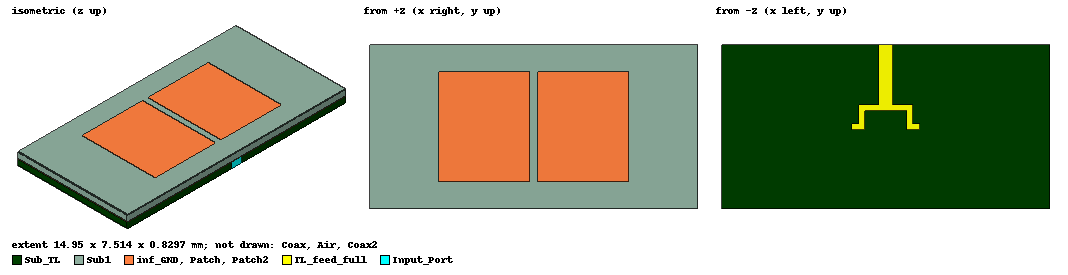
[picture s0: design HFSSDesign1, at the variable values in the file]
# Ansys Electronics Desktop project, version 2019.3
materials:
  vacuum: permittivity=1
  Rogers RT/duroid 5880 (tm): permittivity=2.2 dielectric_loss_tangent=0.0009
  pec: conductivity=1e+30
  Rogers RO4003 (tm): permittivity=3.55 dielectric_loss_tangent=0.0027

design HFSSDesign1 (HFSS, DrivenModal, model units mm)
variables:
  Lp = 4.150152938mm  # optimise 1mm..7mm
  Wp = 5.020166342mm  # optimise 1.4mm..7mm
  hs = 0.406mm  # optimise 0.05mm..2mm
  Ws = 7.513757609mm  # optimise 5mm..9mm
  Ls = 14.9466269mm  # optimise 12mm..16mm
  xsub = -Ls/2
  ysub = -Ws/2
  xfeed = 1.2mm  # optimise 0.8mm..2mm
  dp = 0.35597862mm  # optimise 0.1mm..2mm
  rcoax = 0.15786559mm  # optimise 0.08mm..0.24mm
  hcoax = 0.423655274mm  # optimise 0.1mm..2mm
  rprope = 0.07mm
  Lair = 0.01+Ls
  Wair = 0.01+Ws
  xair = Lair/2
  yair = Wair/2
  hair = 5mm
  yfeed = 0mm
  xp = dp/2
  yp = -Wp/2
  hgnd = 0.032mm  # optimise 0.016mm..0.048mm
  hsubTL = hcoax
  WTLfeed = 0.65771145mm  # optimise 0.1mm..1.5mm
  LTLfeed = 2.741436512mm  # optimise 1.5mm..3.5mm
  LTL_hoz = 2.430367425mm  # optimise 1.5mm..3.5mm
  WTL_In = 0.27356695mm  # optimise 0.1mm..1mm
  Xroax = 2
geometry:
  Sub1 [Rogers RO4003 (tm)] = box(corner=(xsub, ysub, 0mm), size=(Ls, Ws, hs))
  Patch [Rogers RT/duroid 5880 (tm)] = rectangle(corner=(xp, yp, hs), x_size=Lp, y_size=Wp)
  Coax [vacuum] = cylinder(axis=Z, base_centre=(xp+xfeed, yfeed, 0mm), radius=rcoax, height=-hcoax)
  Coax_Pin [pec] = cylinder(axis=Z, base_centre=(xp+xfeed, yfeed, 0mm), radius=rprope, height=-hcoax)
  Prope [pec] = cylinder(axis=Z, base_centre=(xp+xfeed, yfeed, 0mm), radius=rprope, height=hs)
  Air [vacuum] = box(corner=(-xair, -yair, 0), size=(Lair, Wair, hair))
  Patch2 = rectangle(corner=(xp-Lp-dp, yp, hs), x_size=Lp, y_size=Wp)
  Coax2 [vacuum] = cylinder(axis=Z, base_centre=(-(xp+xfeed), yfeed, 0mm), radius=rcoax, height=-hcoax)
  Coax_Pin2 [pec] = cylinder(axis=Z, base_centre=(-(xp+xfeed), yfeed, 0mm), radius=rprope, height=-hcoax)
  Prope2 [pec] = cylinder(axis=Z, base_centre=(-(xp+xfeed), yfeed, 0mm), radius=rprope, height=hs)
  inf_GND [pec] = box(corner=(xsub, ysub, 0mm), size=(Ls, Ws, -hgnd))
  Cylinder_cut_2 = cylinder(axis=Z, base_centre=(-(xp+xfeed), yfeed, 0), radius=rcoax, height=-hgnd)
  Cylinder_cut_1 = cylinder(axis=Z, base_centre=(xp+xfeed, yfeed, 0), radius=rcoax, height=-hgnd)
  inf_GND.subtract(Cylinder_cut_1)
  inf_GND.subtract(Cylinder_cut_2)
  Sub_TL [Rogers RO4003 (tm)] = box(corner=(xsub, ysub, 0mm), size=(Ls, Ws, -hsubTL))
  Input_Port = rectangle(corner=(-WTLfeed/2, Ws/2, -hsubTL), z_size=hsubTL-hgnd, x_size=WTLfeed)
  TL_feed_full = rectangle(corner=(-WTLfeed/2, Ws/2, -hsubTL), x_size=WTLfeed, y_size=-LTLfeed)
  TL_hoz = rectangle(corner=(LTL_hoz/2, Ws/2-LTLfeed, -hsubTL), x_size=-LTL_hoz, y_size=-WTL_In)
  TL1_Ver_Inter = rectangle(corner=(LTL_hoz/2, Ws/2-LTLfeed -WTL_In, -hsubTL), x_size=-WTL_In, y_size=(yfeed-Xroax*rcoax/2)-(Ws/2-LTLfeed -WTL_In-Xroax*rcoax))
  TL2_Ver_Inter = rectangle(corner=(-LTL_hoz/2, Ws/2-LTLfeed -WTL_In, -hsubTL), x_size=WTL_In, y_size=(yfeed-Xroax*rcoax/2)-(Ws/2-LTLfeed -WTL_In-Xroax*rcoax))
  TL1_in_Coax = rectangle(corner=(-(-LTL_hoz/2+WTL_In), yfeed-Xroax*rcoax/2, -hsubTL), x_size=(-LTL_hoz/2+WTL_In)+(xp+xfeed)+Xroax*rcoax/2, y_size=Xroax*rcoax)
  TL_feed_full.unite(TL_hoz)
  TL2_In_Coax = rectangle(corner=(-LTL_hoz/2+WTL_In, yfeed-Xroax*rcoax/2, -hsubTL), x_size=-(-LTL_hoz/2+WTL_In)-(xp+xfeed)-Xroax*rcoax/2, y_size=Xroax*rcoax)
  TL_feed_full.unite(TL1_in_Coax)
  TL_feed_full.unite(TL1_Ver_Inter)
  TL_feed_full.unite(TL2_In_Coax)
  TL_feed_full.unite(TL2_Ver_Inter)
  group Input_feed1 = Coax, Coax_Pin, Prope
  group Input_feed2 = Coax2, Coax_Pin2, Prope2
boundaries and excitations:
  PerfE_Patch: Perfect E Objects=Patch
  Rad1: Radiation Faces=Air.face(+x, +y, -y, -x, +z)
  PerfE1: Perfect E Objects=Patch2
  PerfETL: Perfect E Objects=TL_feed_full
  1: Lumped Port Objects=Input_Port Modes{Mode1{IntLine{middle of Input_Port.edge(z at corner) -> middle of Input_Port.edge(z opposite corner)} CharImp=Zpi RenormImp=50ohm}} Impedance=50ohm
  reference conductors: inf_GND
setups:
  Setup1: HfssDriven Frequency=20GHz MaxDeltaS=0.02 MaximumPasses=18 MinimumPasses=1 MinimumConvergedPasses=1 PercentRefinement=30 BasisOrder=1 PortAccuracy=2
    sweep Sweep: 10GHz to 30GHz step 0.1GHz; Type=Fast SaveFields SaveRadFields GenerateFieldsForAllFreqs
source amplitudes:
  1:1: 1W 0deg
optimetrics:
  OptimizationSetup1: Optimization Optimizer="Quasi Newton" AnalysisStopOptions{StopForNumIteration MaxNumIteration=1000 MinNumIteration=10} CostFuncNormType=L2 Acceptable_Cost=0 Noise=0.0001 UpdateDesignWhenDone
    vary Lp: Min=1.4mm Max=7mm MinStep=0.0368mm MaxStep=0.368mm MinFocus=1.4mm MaxFocus=7mm start=4.1mm
    vary Wp: Min=1mm Max=7mm MinStep=0.0473mm MaxStep=0.473mm MinFocus=1mm MaxFocus=7mm start=4.97mm
    goal dB(S(1,1)) <= -15 weight 1 on Setup1 : Sweep at Freq 20GHz
    goal dB(S(1,1)) >= -15 weight 1 on Setup1 : Sweep at Freq 19GHz
    goal dB(S(1,1)) >= -15 weight 1 on Setup1 : Sweep at Freq 21GHz
    goal mag(Z(1,1)) >= 27 weight 1 on Setup1 : Sweep at Freq 20GHz
    goal mag(Z(1,1)) <= 45 weight 1 on Setup1 : Sweep at Freq 20GHz
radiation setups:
  e_plane: Infinite Sphere Theta=-180deg..180deg step 2deg Phi=0deg..0deg step 1deg
  h_plane: Infinite Sphere Theta=-180deg..180deg step 2deg Phi=90deg..90deg step 1deg
  3d: Infinite Sphere Theta=-180deg..180deg step 2deg Phi=0deg..360deg step 2deg
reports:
  Eradation_pattern: abs(rETotal) vs Theta on Setup1 : LastAdaptive, e_plane [Phi=all Freq=20GHz]
  Hradation_pattern: abs(rETotal) vs Theta on Setup1 : LastAdaptive, h_plane [Phi=all Freq=20GHz]
  Co_X_graph: dB10normalize(GainPhi), dB10normalize(GainTheta) vs Theta on Setup1 : LastAdaptive, e_plane [Phi=0deg Freq=20GHz]
  Gain Plot 1: GainTotal vs Theta on Setup1 : LastAdaptive, e_plane [Phi=all Freq=20GHz]
  Gain Plot 1_1:
  S11_Nominal: dB(S(1,1)) vs Freq on Setup1 : Sweep
  S Parameter Plot 3: dB(S(1,1)) vs Freq on Setup1 : Sweep [Lp=all Wp=all Ws=all Ls=all dp=all rcoax=all hcoax=all WTLfeed=all LTLfeed=all LTL_hoz=all WTL_In=all]; markers MX1 at x=2.1797278e+10
  Zin_nominal: mag(Z(1,1)) vs Freq on Setup1 : Sweep; markers MX1 at x=2.0006743e+10
  Gain Plot 2: mag(GainTotal) vs Phi, Theta on Setup1 : LastAdaptive, 3d [Freq=20GHz]
